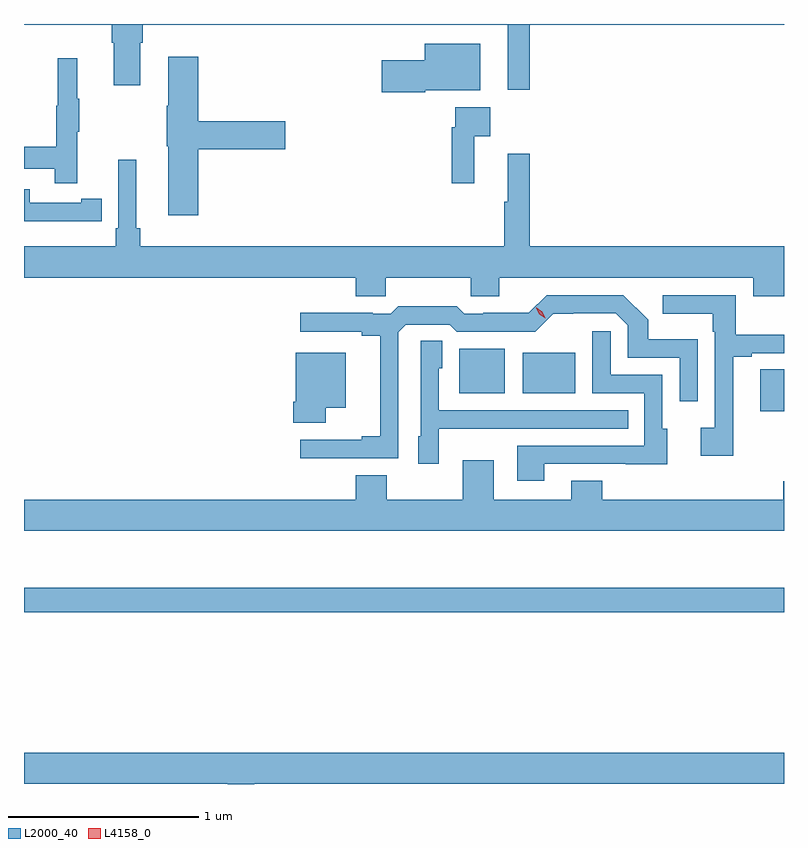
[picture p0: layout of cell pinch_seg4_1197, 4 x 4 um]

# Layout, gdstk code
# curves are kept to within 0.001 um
import gdstk
lib = gdstk.Library(unit=1e-6, precision=1e-09)
def R(c, l, rs):  # rectangles x0, y0, x1, y1
    for r in rs: c.add(gdstk.rectangle(r[:2], r[2:], *l))
def P(c, l, *ps):  # polygons
    for p in ps: c.add(gdstk.Polygon(p, *l))
L2000_40 = (2000, 40)
L4158_0 = (4158, 0)

pinch_seg4_1197 = lib.new_cell('pinch_seg4_1197')
R(pinch_seg4_1197, L2000_40, [(369.264,819.034,373.264,819.163), (373.139,820.094,373.264,820.313), (371.555,820.187,371.794,820.423), (371.888,820.187,372.166,820.402)])
P(pinch_seg4_1197, L2000_40, [(371.927,822.128),(373.264,822.128),(373.264,822.131),(369.264,822.131),(369.264,822.128),(369.725,822.128),(369.725,822.032),(369.737,822.032),(369.737,821.808),(369.877,821.808),(369.877,822.032),(369.89,822.032),(369.89,822.128),(371.81,822.128),(371.81,821.784),(371.927,821.784)],
  [(371.376,821.783),(371.665,821.783),(371.665,822.028),(371.372,822.028),(371.372,821.941),(371.148,821.941),(371.148,821.771),(371.376,821.771)],
  [(370.181,821.471),(370.639,821.471),(370.639,821.618),(370.181,821.618),(370.181,821.959),(370.022,821.959),(370.022,821.701),(370.015,821.701),(370.015,821.487),(370.022,821.487),(370.022,821.124),(370.181,821.124)],
  [(369.545,821.563),(369.556,821.563),(369.556,821.737),(369.545,821.737),(369.545,821.95),(369.442,821.95),(369.442,821.7),(369.435,821.7),(369.435,821.486),(369.264,821.486),(369.264,821.37),(369.427,821.37),(369.427,821.292),(369.545,821.292)],
  [(371.633,821.54),(371.719,821.54),(371.719,821.692),(371.535,821.692),(371.535,821.588),(371.515,821.588),(371.515,821.292),(371.633,821.292)],
  [(373.264,820.96),(371.927,820.96),(371.927,821.449),(371.81,821.449),(371.81,821.196),(371.791,821.196),(371.791,820.96),(369.875,820.96),(369.875,821.056),(369.856,821.056),(369.856,821.416),(369.759,821.416),(369.759,821.056),(369.746,821.056),(369.746,820.96),(369.264,820.96),(369.264,820.796),(371.009,820.796),(371.009,820.698),(371.169,820.698),(371.169,820.796),(371.614,820.796),(371.614,820.698),(371.764,820.698),(371.764,820.796),(373.103,820.796),(373.103,820.697),(373.264,820.697)],
  [(369.566,821.094),(369.674,821.094),(369.674,821.21),(369.566,821.21),(369.566,821.19),(369.294,821.19),(369.294,821.262),(369.264,821.262),(369.264,821.093),(369.566,821.093)],
  [(372.997,820.38),(373.093,820.38),(373.093,820.398),(373.264,820.398),(373.264,820.496),(373.009,820.496),(373.009,820.704),(372.627,820.704),(372.627,820.607),(372.888,820.607),(372.888,820.511),(372.9,820.511),(372.9,820.006),(372.825,820.006),(372.825,819.858),(372.997,819.858)],
  [(371.235,820.509),(371.274,820.548),(371.505,820.548),(371.541,820.512),(371.955,820.512),(372.05,820.607),(372.378,820.608),(372.441,820.545),(372.441,820.374),(372.714,820.374),(372.714,820.146),(372.81,820.146),(372.81,820.471),(372.549,820.471),(372.549,820.574),(372.418,820.704),(372.015,820.704),(371.921,820.61),(371.68,820.61),(371.68,820.605),(371.58,820.605),(371.541,820.645),(371.233,820.645),(371.193,820.605),(371.099,820.605),(371.099,820.61),(370.719,820.61),(370.719,820.512),(371.042,820.512),(371.042,820.49),(371.138,820.49),(371.138,819.962),(371.042,819.962),(371.042,819.942),(370.719,819.942),(370.719,819.846),(371.235,819.846)],
  [(372.001,819.816),(372.431,819.816),(372.431,819.815),(372.649,819.815),(372.649,820.002),(372.624,820.002),(372.624,820.284),(372.351,820.284),(372.351,820.513),(372.255,820.513),(372.255,820.188),(372.528,820.188),(372.528,819.912),(371.861,819.912),(371.861,819.726),(372.001,819.726)],
  [(371.448,820.001),(371.765,820.001),(371.765,820.002),(372.443,820.002),(372.443,820.098),(371.448,820.098),(371.448,820.32),(371.464,820.32),(371.464,820.463),(371.352,820.463),(371.352,819.96),(371.339,819.96),(371.339,819.816),(371.448,819.816)],
  [(370.852,820.112),(370.957,820.112),(370.957,820.402),(370.694,820.402),(370.694,820.144),(370.682,820.144),(370.682,820.032),(370.852,820.032)],
  [(373.264,819.724),(373.259,819.724),(373.259,819.628),(372.307,819.628),(372.307,819.727),(372.143,819.727),(372.143,819.628),(371.737,819.628),(371.737,819.835),(371.573,819.835),(371.573,819.628),(371.173,819.628),(371.173,819.757),(371.009,819.757),(371.009,819.628),(369.264,819.628),(369.264,819.464),(373.264,819.464)],
  [(370.477,818.132),(373.264,818.132),(373.264,818.296),(369.264,818.296),(369.264,818.132),(370.337,818.132),(370.337,818.131),(370.477,818.131)])
P(pinch_seg4_1197, L4158_0, [(372.008,820.582),(371.977,820.603),(371.961,820.636),(371.961,820.637),(371.962,820.637),(371.992,820.616),(372.008,820.582),(372.008,820.582)])

lib.write_gds('pinch_seg4_1197.gds')
